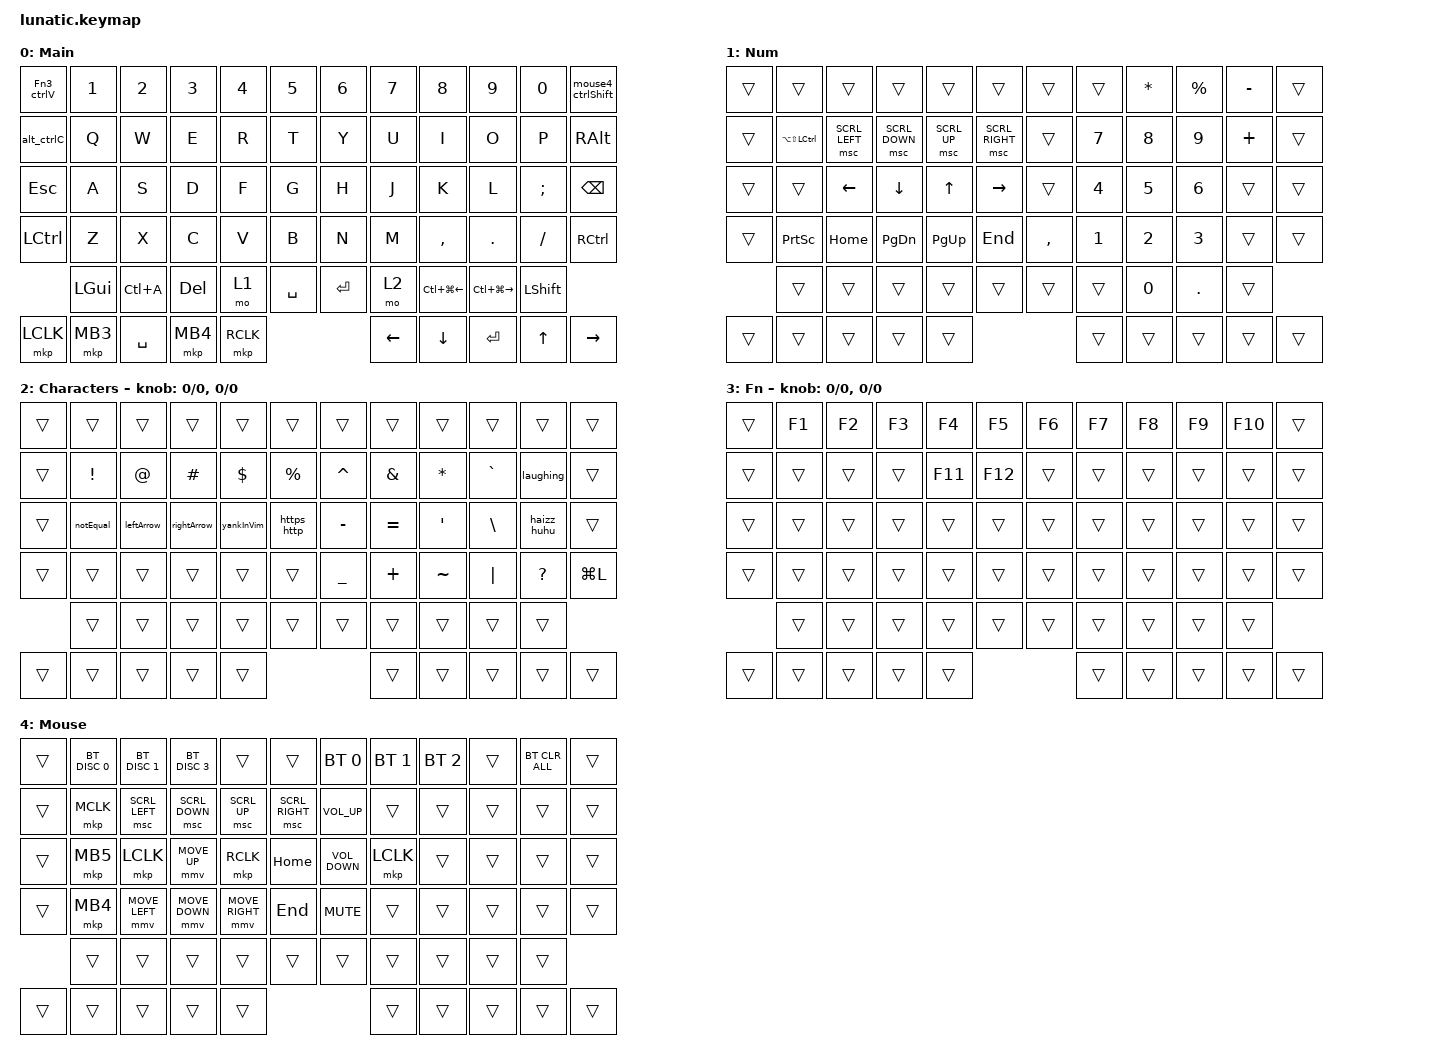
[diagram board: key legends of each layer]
/*
 * Copyright (c) 2020 The ZMK Contributors
 *
 * SPDX-License-Identifier: MIT
 */

#include <dt-bindings/zmk/input_transform.h>
#include <input/processors.dtsi>
#include <zephyr/dt-bindings/input/input-event-codes.h>
#include <dt-bindings/zmk/mouse.h>
#include <behaviors/mouse_keys.dtsi>

//#include <interfaces/hid-trackball.dtsi>  //zmk-hid-trackball-interface

#include <behaviors.dtsi>
#include <dt-bindings/zmk/bt.h>
#include <dt-bindings/zmk/keys.h>
#include <dt-bindings/zmk/pointing.h>

#define Main 0
#define Num 1
#define Characters 2
#define Fn 3
#define Mouse 4
#define ZMK_POINTING_DEFAULT_MOVE_VAL 1200  // 600
#define ZMK_POINTING_DEFAULT_SCRL_VAL 300   // mousescroll SPEED

&mmv_input_listener { input-processors = <&zip_xy_scaler 2 1>; };

&msc_input_listener { input-processors = <&zip_scroll_scaler 2 1>; };

&msc {
    acceleration-exponent = <1>;      // 0
    time-to-max-speed-ms = <2000>;       // 300
    delay-ms = <0>;                   // 0
};

&mmv {
    time-to-max-speed-ms = <1000>;
    acceleration-exponent = <1>;
    trigger-period-ms = <16>;
};

&soft_off {
    hold-time-ms = <3000>; // Only turn off it the key is held for 3 seconds or longer.
};

&lt { tapping-term-ms = <300>; };

&sk {
    quick-release;
    lazy;
};

/ {
    input_processors {
        zip_wheel_scaler: zip_wheel_scaler {
            compatible = "zmk,input-processor-scaler";
            #input-processor-cells = <2>;
            type = <INPUT_EV_REL>;
            codes = <INPUT_REL_WHEEL>;
            track-remainders;
        };
    };
};

&msc_input_listener {
    speed_up {
        layers = <Mouse>;
        input-processors = <&zip_wheel_scaler 3 1>; //scroll faster x3
    };
};

&trackball_listener {
    scroller {
        layers = <Mouse>;
        input-processors =
            <&zip_xy_transform INPUT_TRANSFORM_Y_INVERT>,
            <&zip_xy_to_scroll_mapper>;
    };
};

/ {
    behaviors {
        laughing: laughing {
            compatible = "zmk,behavior-tap-dance";
            label = "LAUGHING";
            #binding-cells = <0>;
            bindings = <&hihi>, <&haha>;
        };

        https_http: https_http {
            compatible = "zmk,behavior-tap-dance";
            label = "HTTPS_HTTP";
            #binding-cells = <0>;
            bindings = <&https>, <&http>;
        };

        haizz_huhu: haizz_huhu {
            compatible = "zmk,behavior-tap-dance";
            label = "HAIZZ_HUHU";
            #binding-cells = <0>;
            bindings = <&haizzz>, <&huhu>;
        };

        Fn3_ctrlV: Fn3_ctrlV {
            compatible = "zmk,behavior-tap-dance";
            label = "FN3_CTRLV";
            #binding-cells = <0>;
            bindings = <&mo 3>, <&kp LC(V)>;
        };

        alt_ctrlC: alt_ctrlC {
            compatible = "zmk,behavior-tap-dance";
            label = "ALT_CTRLC";
            #binding-cells = <0>;
            bindings = <&kp LEFT_ALT>, <&kp LC(C)>;
        };

        mouse4_ctrlShift: mouse4_ctrlShift {
            compatible = "zmk,behavior-tap-dance";
            label = "MOUSE4_CTRLSHIFT";
            #binding-cells = <0>;
            bindings = <&mo 4>, <&kp LS(LCTRL)>;
        };
    };

    combos {
        compatible = "zmk,combos";

        leftParenthesis {
            bindings = <&kp LEFT_PARENTHESIS>;
            key-positions = <19 20>;
        };

        rightParenthesis {
            bindings = <&kp RIGHT_PARENTHESIS>;
            key-positions = <20 21>;
        };

        leftBracket {
            bindings = <&kp LEFT_BRACKET>;
            key-positions = <31 32>;
        };

        rightBracket {
            bindings = <&kp RIGHT_BRACKET>;
            key-positions = <32 33>;
        };

        leftBrace {
            bindings = <&kp LEFT_BRACE>;
            key-positions = <43 44>;
        };

        rightBrace {
            bindings = <&kp RIGHT_BRACE>;
            key-positions = <44 45>;
        };

        doubleQuotes {
            bindings = <&kp DOUBLE_QUOTES>;
            key-positions = <19 21>;
        };

        lessThan {
            bindings = <&kp LESS_THAN>;
            key-positions = <31 33>;
        };

        greaterThan {
            bindings = <&kp GREATER_THAN>;
            key-positions = <43 45>;
        };

        colon {
            bindings = <&kp COLON>;
            key-positions = <33 34>;
        };

        shift {
            bindings = <&kp LEFT_SHIFT>;
            key-positions = <39 40>;
            layers = <0 1 2>;
        };

        return {
            bindings = <&kp RETURN>;
            key-positions = <28 41>;
        };

        tab {
            bindings = <&kp TAB>;
            key-positions = <28 27>;
        };

        capslock {
            bindings = <&kp CLCK>;
            key-positions = <18 19>;
        };

        capsWords {
            bindings = <&caps_word>;
            key-positions = <30 31>;
        };

        stickyShift {
            bindings = <&sk LEFT_SHIFT>;
            key-positions = <31 34>;
        };

        backspace {
            bindings = <&kp BACKSPACE>;
            key-positions = <37 38>;
        };
    };

    macros {
        hihi: hihi {
            compatible = "zmk,behavior-macro";
            #binding-cells = <0>;
            bindings = <&none &kp COLON &kp RPAR &kp RPAR &kp RPAR>;
            label = "HIHI";
        };

        haha: haha {
            compatible = "zmk,behavior-macro";
            #binding-cells = <0>;
            bindings = <&none &kp EQUAL &kp RPAR &kp RPAR &kp RPAR &kp RPAR &kp RPAR &kp RPAR &kp RPAR &kp RPAR>;
            label = "HAHA";
        };

        yankInVim: yankInVim {
            compatible = "zmk,behavior-macro";
            #binding-cells = <0>;
            bindings = <&none &kp DQT &kp PLUS &kp Y>;
            label = "YANKINVIM";
        };

        https: https {
            compatible = "zmk,behavior-macro";
            #binding-cells = <0>;
            bindings = <&none &kp H &kp T &kp T &kp P &kp S &kp COLON &kp FSLH &kp FSLH>;
            label = "HTTPS";
        };

        http: http {
            compatible = "zmk,behavior-macro";
            #binding-cells = <0>;
            bindings = <&none &kp H &kp T &kp T &kp P &kp COLON &kp FSLH &kp FSLH>;
            label = "HTTP";
        };

        rightArrow: rightArrow {
            compatible = "zmk,behavior-macro";
            #binding-cells = <0>;
            bindings = <&none &kp MINUS &kp GT>;
            label = "RIGHTARROW";
        };

        leftArrow: leftArrow {
            compatible = "zmk,behavior-macro";
            #binding-cells = <0>;
            bindings = <&none &kp LT &kp MINUS>;
            label = "LEFTARROW";
        };

        notEqual: notEqual {
            compatible = "zmk,behavior-macro";
            #binding-cells = <0>;
            bindings = <&none &kp EXCL &kp EQUAL>;
            label = "NOTEQUAL";
        };

        haizzz: haizzz {
            compatible = "zmk,behavior-macro";
            #binding-cells = <0>;
            bindings = <&none &kp EQUAL &kp DOT &kp EQUAL>;
            label = "HAIZZZ";
        };

        huhu: huhu {
            compatible = "zmk,behavior-macro";
            #binding-cells = <0>;
            bindings = <&none &kp COLON &kp LPAR &kp LPAR &kp LPAR &kp LPAR>;
            label = "HUHU";
        };
    };

    keymap {
        compatible = "zmk,keymap";

        Main {
            display-name = "Main";
            bindings = <
&Fn3_ctrlV  &kp N1        &kp N2     &kp N3    &kp N4     &kp N5     &kp N6   &kp N7    &kp N8                  &kp N9             &kp N0          &mouse4_ctrlShift
&alt_ctrlC  &kp Q         &kp W      &kp E     &kp R      &kp T      &kp Y    &kp U     &kp I                   &kp O              &kp P           &kp RIGHT_ALT
&kp ESC     &kp A         &kp S      &kp D     &kp F      &kp G      &kp H    &kp J     &kp K                   &kp L              &kp SEMI        &kp BACKSPACE
&kp LCTRL   &kp Z         &kp X      &kp C     &kp V      &kp B      &kp N    &kp M     &kp COMMA               &kp DOT            &kp FSLH        &kp RCTRL
            &kp LEFT_GUI  &kp LC(A)  &kp DEL   &mo 1      &kp SPACE  &kp RET  &mo 2     &kp LC(LG(LEFT_ARROW))  &kp LC(LG(RIGHT))  &kp LEFT_SHIFT
&mkp LCLK   &mkp MB3      &kp SPACE  &mkp MB4  &mkp RCLK                      &kp LEFT  &kp DOWN                &kp ENTER          &kp UP          &kp RIGHT
            >;
        };

        Num {
            display-name = "Num";
            bindings = <
&trans  &trans             &trans          &trans          &trans        &trans           &trans     &trans        &kp ASTERISK  &kp PERCENT   &kp MINUS  &trans
&trans  &kp LA(LS(LCTRL))  &msc SCRL_LEFT  &msc SCRL_DOWN  &msc SCRL_UP  &msc SCRL_RIGHT  &trans     &kp N7        &kp N8        &kp N9        &kp PLUS   &trans
&trans  &trans             &kp LEFT_ARROW  &kp DOWN_ARROW  &kp UP_ARROW  &kp RIGHT        &trans     &kp NUMBER_4  &kp N5        &kp NUMBER_6  &trans     &trans
&trans  &kp PRINTSCREEN    &kp HOME        &kp PAGE_DOWN   &kp PAGE_UP   &kp END          &kp COMMA  &kp NUMBER_1  &kp NUMBER_2  &kp NUMBER_3  &trans     &trans
        &trans             &trans          &trans          &trans        &trans           &trans     &trans        &kp N0        &kp PERIOD    &trans
&trans  &trans             &trans          &trans          &trans                                    &trans        &trans        &trans        &trans     &trans
            >;

            //sensor-bindings = <&none>, <&none>;
        };

        Characters {
            display-name = "Characters";
            bindings = <
&trans  &trans           &trans       &trans       &trans      &trans       &trans          &trans         &trans        &trans     &trans        &trans
&trans  &kp EXCLAMATION  &kp AT_SIGN  &kp HASH     &kp DOLLAR  &kp PERCENT  &kp CARET       &kp AMPERSAND  &kp ASTERISK  &kp GRAVE  &laughing     &trans
&trans  &notEqual        &leftArrow   &rightArrow  &yankInVim  &https_http  &kp MINUS       &kp EQUAL      &kp APOS      &kp BSLH   &haizz_huhu   &trans
&trans  &trans           &trans       &trans       &trans      &trans       &kp UNDERSCORE  &kp PLUS       &kp TILDE     &kp PIPE   &kp QUESTION  &kp LG(L)
        &trans           &trans       &trans       &trans      &trans       &trans          &trans         &trans        &trans     &trans
&trans  &trans           &trans       &trans       &trans                                   &trans         &trans        &trans     &trans        &trans
            >;

            sensor-bindings = <&inc_dec_kp 0 0>, <&inc_dec_kp 0 0>;
        };

        Fn {
            bindings = <
&trans  &kp F1  &kp F2  &kp F3  &kp F4   &kp F5   &kp F6  &kp F7  &kp F8  &kp F9  &kp F10  &trans
&trans  &trans  &trans  &trans  &kp F11  &kp F12  &trans  &trans  &trans  &trans  &trans   &trans
&trans  &trans  &trans  &trans  &trans   &trans   &trans  &trans  &trans  &trans  &trans   &trans
&trans  &trans  &trans  &trans  &trans   &trans   &trans  &trans  &trans  &trans  &trans   &trans
        &trans  &trans  &trans  &trans   &trans   &trans  &trans  &trans  &trans  &trans
&trans  &trans  &trans  &trans  &trans                    &trans  &trans  &trans  &trans   &trans
            >;

            sensor-bindings = <&inc_dec_kp 0 0>, <&inc_dec_kp 0 0>;
        };

        Mouse {
            bindings = <
&trans  &bt BT_DISC 0  &bt BT_DISC 1   &bt BT_DISC 3   &trans           &trans           &bt BT_SEL 0       &bt BT_SEL 1  &bt BT_SEL 2  &trans  &bt BT_CLR_ALL  &trans
&trans  &mkp MCLK      &msc SCRL_LEFT  &msc SCRL_DOWN  &msc SCRL_UP     &msc SCRL_RIGHT  &kp C_VOLUME_UP    &trans        &trans        &trans  &trans          &trans
&trans  &mkp MB5       &mkp LCLK       &mmv MOVE_UP    &mkp RCLK        &kp HOME         &kp C_VOLUME_DOWN  &mkp LCLK     &trans        &trans  &trans          &trans
&trans  &mkp MB4       &mmv MOVE_LEFT  &mmv MOVE_DOWN  &mmv MOVE_RIGHT  &kp END          &kp K_MUTE         &trans        &trans        &trans  &trans          &trans
        &trans         &trans          &trans          &trans           &trans           &trans             &trans        &trans        &trans  &trans
&trans  &trans         &trans          &trans          &trans                                               &trans        &trans        &trans  &trans          &trans
            >;
        };
    };
};
